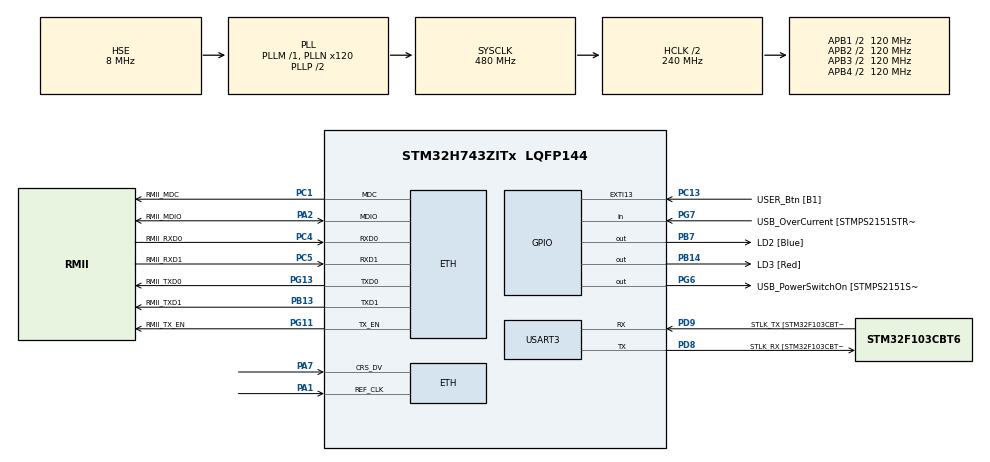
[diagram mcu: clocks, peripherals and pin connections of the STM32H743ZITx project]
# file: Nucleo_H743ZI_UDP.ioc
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LWIP.LWIP_MULTICAST_TX_OPTIONS=1
LWIP.LWIP_NETIF_API=1
PB14.GPIO_Label=LD3 [Red]
PG6.GPIO_Label=USB_PowerSwitchOn [STMPS2151STR_EN]
RCC.PLLFRACN=0
CORTEX_M7.AccessPermission-Cortex_Memory_Protection_Unit_Region2_Settings=MPU_REGION_FULL_ACCESS
PC5.Mode=RMII
PB13.Signal=ETH_TXD1
PG13.Signal=ETH_TXD0
RCC.SYSCLKSource=RCC_SYSCLKSOURCE_PLLCLK
LWIP.NETMASK_ADDRESS=255.255.255.000
USART3.VirtualMode-Asynchronous=VM_ASYNC
FREERTOS.configENABLE_FPU=1
CORTEX_M7.Enable-Cortex_Memory_Protection_Unit_Region0_Settings=MPU_REGION_ENABLE
RCC.APB2TimFreq_Value=216000000
PD8.Signal=USART3_TX
FREERTOS.configMINIMAL_STACK_SIZE=1024
LWIP.LWIP_DHCP_CHECK_LINK_UP=1
RCC.DIVM1=1
PC4.GPIO_Label=RMII_RXD0
VP_FREERTOS_VS_CMSIS_V1.Mode=CMSIS_V1
Mcu.Package=LQFP144
NVIC.TimeBase=TIM1_UP_IRQn
NVIC.TimeBaseIP=TIM1
PC14-OSC32_IN\ (OSC32_IN).Mode=LSE-External-Oscillator
RCC.APB2CLKDivider=RCC_HCLK_DIV2
RCC.APB4Freq_Value=120000000
RCC.APB1TimFreq_Value=108000000
CORTEX_M7.Enable-Cortex_Memory_Protection_Unit_Region1_Settings=MPU_REGION_ENABLE
PB13.Mode=RMII
PH0-OSC_IN\ (PH0).Mode=HSE-External-Oscillator
CORTEX_M7.IsBufferable-Cortex_Memory_Protection_Unit_Region0_Settings=MPU_ACCESS_BUFFERABLE
PC4.Mode=RMII
LWIP.IP_ADDRESS=010.010.010.010
RCC.DIVQ1=4
FREERTOS.Tasks01=StartupTask,0,2048,Task_Startup,Default,NULL,Dynamic,NULL,NULL;HeartBeat_Task,0,2048,Task_HeartBeat,Default,NULL,Dynamic,NULL,NULL;UdpServer_Task,-1,2048,Task_UdpServer,Default,NULL,Dynamic,NULL,NULL;DHCP_Task,0,1024,TASK_DHCP,Default,NULL,Dynamic,NULL,NULL
LWIP0.BSP.i2caddr=0
PD9.GPIO_Label=STLK_TX [STM32F103CBT6_PA2]
LWIP.LWIP_NETCONN_FULLDUPLEX=1
PC13.Signal=GPXTI13
FREERTOS.INCLUDE_vTaskDelayUntil=1
LWIP.LWIP_DHCP=0
RCC.APB1CLKDivider=RCC_HCLK_DIV4
PG13.GPIO_Label=RMII_TXD0
LWIP.LWIP_MULTICAST_PING=1
RCC.PWR_Regulator_Voltage_Scale=PWR_REGULATOR_VOLTAGE_SCALE0
LWIP.LWIP_NETIF_LINK_CALLBACK=1
RCC.DIVN1=120
PB13.GPIO_Speed=GPIO_SPEED_FREQ_VERY_HIGH
CORTEX_M7.BaseAddress-Cortex_Memory_Protection_Unit_Region0_Settings=0x30040000
PD8.Mode=Asynchronous
PB14.Signal=GPIO_Output
CORTEX_M7.Enable-Cortex_Memory_Protection_Unit_Region2_Settings=MPU_REGION_ENABLE
PA1.Mode=RMII
RCC.PRESCALERUSB=RCC_USBCLKSOURCE_PLL_DIV1_5
PG7.GPIO_Label=USB_OverCurrent [STMPS2151STR_FAULT]
CORTEX_M7.AccessPermission-Cortex_Memory_Protection_Unit_Region0_Settings=MPU_REGION_FULL_ACCESS
PC1.GPIO_Speed=GPIO_SPEED_FREQ_VERY_HIGH
ETH.MediaInterface=HAL_ETH_RMII_MODE
FREERTOS.configUSE_COUNTING_SEMAPHORES=1
PG11.Mode=RMII
ProjectManager.HeapSize=0x2000
LWIP.Version=v2.1.2_Cube
FREERTOS.configUSE_RECURSIVE_MUTEXES=1
NVIC.PriorityGroup=NVIC_PRIORITYGROUP_4
PC5.GPIO_Speed=GPIO_SPEED_FREQ_VERY_HIGH
LWIP.ARP_QUEUEING=1
PC1.Signal=ETH_MDC
PC1.Mode=RMII
Mcu.Family=STM32H7
LWIP0.BSP.STBoard=false
RCC.CortexFreq_Value=480000000
PG6.Signal=GPIO_Output
RCC.HPRE=RCC_HCLK_DIV2
PH0-OSC_IN\ (PH0).Signal=RCC_OSC_IN
PC15-OSC32_OUT\ (OSC32_OUT).Mode=LSE-External-Oscillator
RCC.SYSCLKSourceVirtual=RCC_SYSCLKSOURCE_PLLCLK
PA2.GPIO_Speed=GPIO_SPEED_FREQ_VERY_HIGH
NVIC.TIM1_UP_IRQn=true\:0\:0\:false\:false\:true\:false\:false\:true
PC13.GPIO_Label=USER_Btn [B1]
PB13.GPIO_Label=RMII_TXD1
PD9.Mode=Asynchronous
PG11.Signal=ETH_TX_EN
ProjectManager.StackSize=0x4000
Mcu.UserConstants=DHCP_OFF,0;DHCP_START,1;DHCP_WAIT_ADDRESS,2;DHCP_ADDRESS_ASSIGNED,3;DHCP_TIMEOUT,4;DHCP_LINK_DOWN,5;IP_ADDR0,10;IP_ADDR1,10;IP_ADDR2,10;IP_ADDR3,10;NETMASK_ADDR0,255;NETMASK_ADDR1,255;NETMASK_ADDR2,255;NETMASK_ADDR3,0;GW_ADDR0,10;GW_ADDR1,10;GW_ADDR2,10;GW_ADDR3,11;MAX_DHCP_TRIES,5
RCC.HCLKFreq_Value=240000000
RCC.AHBFreq_Value=216000000
NVIC.ETH_IRQn=true\:5\:0\:false\:false\:true\:true\:true\:true
PH1-OSC_OUT\ (PH1).Mode=HSE-External-Oscillator
RCC.HSE_VALUE=8000000
FREERTOS.configUSE_TIMERS=1
CORTEX_M7.Size-Cortex_Memory_Protection_Unit_Region2_Settings=MPU_REGION_SIZE_16KB
RCC.PLLMUL=RCC_PLL_MUL9
PG11.GPIO_Speed=GPIO_SPEED_FREQ_VERY_HIGH
PC4.GPIO_Speed=GPIO_SPEED_FREQ_VERY_HIGH
CORTEX_M7.TypeExtField-Cortex_Memory_Protection_Unit_Region2_Settings=MPU_TEX_LEVEL1
LWIP.LWIP_TCP_KEEPALIVE=1
VP_SYS_VS_tim1.Mode=TIM1
PB7.Signal=GPIO_Output
PG13.Mode=RMII
LWIP.ETHARP_SUPPORT_STATIC_ENTRIES=1
LWIP0.BSP.solution=LAN8742
LWIP.LWIP_BROADCAST_PING=1
FREERTOS.configTOTAL_HEAP_SIZE=128000
RCC.APB3Freq_Value=120000000
LWIP0.BSP.component=LAN8742
PB7.GPIO_Label=LD2 [Blue]
RCC.D1PPRE=RCC_APB3_DIV2
CORTEX_M7.BaseAddress-Cortex_Memory_Protection_Unit_Region1_Settings=0x30044000
PA2.GPIO_Label=RMII_MDIO
CORTEX_M7.Size-Cortex_Memory_Protection_Unit_Region1_Settings=MPU_REGION_SIZE_16KB
LWIP.CHECKSUM_BY_HARDWARE=1
PG11.GPIO_Label=RMII_TX_EN
PG13.GPIO_Speed=GPIO_SPEED_FREQ_VERY_HIGH
PC5.Signal=ETH_RXD1
CORTEX_M7.IsShareable-Cortex_Memory_Protection_Unit_Region1_Settings=MPU_ACCESS_SHAREABLE
LWIP.LWIP_NUM_NETIF_CLIENT_DATA=1
RCC.PLLSourceVirtual=RCC_PLLSOURCE_HSE
CORTEX_M7.CPU_ICache=Enabled
PG7.Signal=GPIO_Input
PA7.Mode=RMII
PC4.Signal=ETH_RXD0
RCC.D2PPRE2=RCC_APB2_DIV2
RCC.D2PPRE1=RCC_APB1_DIV2
PD9.Signal=USART3_RX
CORTEX_M7.BaseAddress-Cortex_Memory_Protection_Unit_Region2_Settings=0x30040000
PH1-OSC_OUT\ (PH1).Signal=RCC_OSC_OUT
VP_LWIP_VS_Enabled.Mode=Enabled
LWIP.GATEWAY_ADDRESS=010.010.010.011
PD8.GPIO_Label=STLK_RX [STM32F103CBT6_PA3]
FREERTOS.configUSE_IDLE_HOOK=1
CORTEX_M7.MPU_Control=MPU_PRIVILEGED_DEFAULT
ProjectManager.TargetToolchain=STM32CubeIDE
PC15-OSC32_OUT\ (OSC32_OUT).Signal=RCC_OSC32_OUT
CORTEX_M7.TypeExtField-Cortex_Memory_Protection_Unit_Region1_Settings=MPU_TEX_LEVEL1
FREERTOS.configTIMER_TASK_STACK_DEPTH=1024
LWIP0.BSP.instance=LAN8742
RCC.USBFreq_Value=240000000
LWIP0.BSP.api=BSP_COMPONENT_DRIVER
PA1.Signal=ETH_REF_CLK
board=NUCLEO-H743ZI
RCC.VCOOutputFreq_Value=432000000
RCC.APB2Freq_Value=120000000
RCC.ADCFreq_Value=16125000
PC1.GPIO_Label=RMII_MDC
Mcu.Name=STM32H743ZITx
CORTEX_M7.Size-Cortex_Memory_Protection_Unit_Region0_Settings=MPU_REGION_SIZE_256B
PA2.Signal=ETH_MDIO
CORTEX_M7.AccessPermission-Cortex_Memory_Protection_Unit_Region1_Settings=MPU_REGION_FULL_ACCESS
RCC.48MHZClocksFreq_Value=24000000
RCC.SYSCLKFreq_VALUE=480000000
LWIP.LWIP_NETIF_STATUS_CALLBACK=1
LWIP.BSP.number=1
PC14-OSC32_IN\ (OSC32_IN).Signal=RCC_OSC32_IN
PC5.GPIO_Label=RMII_RXD1
RCC.HSI_VALUE=64000000
RCC.PLLQ=9
PH0-OSC_IN\ (PH0).GPIO_Label=MCO
RCC.PLLM=25
RCC.PLLN=432
LWIP.LWIP_AUTOIP=0
PA2.Mode=RMII
RCC.D3PPRE=RCC_APB4_DIV2
CORTEX_M7.CPU_DCache=Enabled
LWIP0.BSP.name=Driver_PHY
RCC.APB1Freq_Value=120000000
PA7.Signal=ETH_CRS_DV

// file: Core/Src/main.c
/* USER CODE BEGIN Header */
/**
  ******************************************************************************
  * @file           : main.c
  * @brief          : Main program body
  ******************************************************************************
  * @attention
  *
  * <h2><center>&copy; Copyright (c) 2020 STMicroelectronics.
  * All rights reserved.</center></h2>
  *
  * This software component is licensed by ST under Ultimate Liberty license
  * SLA0044, the "License"; You may not use this file except in compliance with
  * the License. You may obtain a copy of the License at:
  *                             www.st.com/SLA0044
  *
  ******************************************************************************
  */
/* USER CODE END Header */
#include "main.h"
#include "cmsis_os.h"
#include "lwip.h"
#include "usart.h"
#include "gpio.h"

void SystemClock_Config(void);
static void MPU_Config(void);
void MX_FREERTOS_Init(void);

int main(void)
{

  /* MPU Configuration--------------------------------------------------------*/
  MPU_Config();

  /* Enable I-Cache---------------------------------------------------------*/
  SCB_EnableICache();

  /* Enable D-Cache---------------------------------------------------------*/
  SCB_EnableDCache();

  /* MCU Configuration--------------------------------------------------------*/

  /* Reset of all peripherals, Initializes the Flash interface and the Systick. */
  HAL_Init();

  /* Configure the system clock */
  SystemClock_Config();

  /* Initialize all configured peripherals */
  MX_GPIO_Init();
  MX_USART3_UART_Init();

  /* Call init function for freertos objects (in freertos.c) */
  MX_FREERTOS_Init();
  /* Start scheduler */
  osKernelStart();

  /* We should never get here as control is now taken by the scheduler */
  /* Infinite loop */
  while (1)
  {

  }
}

void SystemClock_Config(void)
{
  RCC_OscInitTypeDef RCC_OscInitStruct = {0};
  RCC_ClkInitTypeDef RCC_ClkInitStruct = {0};

  /** Supply configuration update enable
  */
  HAL_PWREx_ConfigSupply(PWR_LDO_SUPPLY);
  /** Configure the main internal regulator output voltage
  */
  __HAL_PWR_VOLTAGESCALING_CONFIG(PWR_REGULATOR_VOLTAGE_SCALE0);

  while(!__HAL_PWR_GET_FLAG(PWR_FLAG_VOSRDY)) {}
  /** Initializes the RCC Oscillators according to the specified parameters
  * in the RCC_OscInitTypeDef structure.
  */
  RCC_OscInitStruct.OscillatorType = RCC_OSCILLATORTYPE_HSE;
  RCC_OscInitStruct.HSEState = RCC_HSE_ON;
  RCC_OscInitStruct.PLL.PLLState = RCC_PLL_ON;
  RCC_OscInitStruct.PLL.PLLSource = RCC_PLLSOURCE_HSE;
  RCC_OscInitStruct.PLL.PLLM = 1;
  RCC_OscInitStruct.PLL.PLLN = 120;
  RCC_OscInitStruct.PLL.PLLP = 2;
  RCC_OscInitStruct.PLL.PLLQ = 4;
  RCC_OscInitStruct.PLL.PLLR = 2;
  RCC_OscInitStruct.PLL.PLLRGE = RCC_PLL1VCIRANGE_3;
  RCC_OscInitStruct.PLL.PLLVCOSEL = RCC_PLL1VCOWIDE;
  RCC_OscInitStruct.PLL.PLLFRACN = 0;
  if (HAL_RCC_OscConfig(&RCC_OscInitStruct) != HAL_OK)
  {
    Error_Handler();
  }
  /** Initializes the CPU, AHB and APB buses clocks
  */
  RCC_ClkInitStruct.ClockType = RCC_CLOCKTYPE_HCLK|RCC_CLOCKTYPE_SYSCLK
                              |RCC_CLOCKTYPE_PCLK1|RCC_CLOCKTYPE_PCLK2
                              |RCC_CLOCKTYPE_D3PCLK1|RCC_CLOCKTYPE_D1PCLK1;
  RCC_ClkInitStruct.SYSCLKSource = RCC_SYSCLKSOURCE_PLLCLK;
  RCC_ClkInitStruct.SYSCLKDivider = RCC_SYSCLK_DIV1;
  RCC_ClkInitStruct.AHBCLKDivider = RCC_HCLK_DIV2;
  RCC_ClkInitStruct.APB3CLKDivider = RCC_APB3_DIV2;
  RCC_ClkInitStruct.APB1CLKDivider = RCC_APB1_DIV2;
  RCC_ClkInitStruct.APB2CLKDivider = RCC_APB2_DIV2;
  RCC_ClkInitStruct.APB4CLKDivider = RCC_APB4_DIV2;

  if (HAL_RCC_ClockConfig(&RCC_ClkInitStruct, FLASH_LATENCY_4) != HAL_OK)
  {
    Error_Handler();
  }
}

/* MPU Configuration */

void MPU_Config(void)
{
  MPU_Region_InitTypeDef MPU_InitStruct = {0};

  /* Disables the MPU */
  HAL_MPU_Disable();
  /** Initializes and configures the Region and the memory to be protected
  */
  MPU_InitStruct.Enable = MPU_REGION_ENABLE;
  MPU_InitStruct.Number = MPU_REGION_NUMBER0;
  MPU_InitStruct.BaseAddress = 0x30040000;
  MPU_InitStruct.Size = MPU_REGION_SIZE_256B;
  MPU_InitStruct.SubRegionDisable = 0x0;
  MPU_InitStruct.TypeExtField = MPU_TEX_LEVEL0;
  MPU_InitStruct.AccessPermission = MPU_REGION_FULL_ACCESS;
  MPU_InitStruct.DisableExec = MPU_INSTRUCTION_ACCESS_ENABLE;
  MPU_InitStruct.IsShareable = MPU_ACCESS_NOT_SHAREABLE;
  MPU_InitStruct.IsCacheable = MPU_ACCESS_NOT_CACHEABLE;
  MPU_InitStruct.IsBufferable = MPU_ACCESS_BUFFERABLE;

  HAL_MPU_ConfigRegion(&MPU_InitStruct);
  /** Initializes and configures the Region and the memory to be protected
  */
  MPU_InitStruct.Number = MPU_REGION_NUMBER1;
  MPU_InitStruct.BaseAddress = 0x30044000;
  MPU_InitStruct.Size = MPU_REGION_SIZE_16KB;
  MPU_InitStruct.TypeExtField = MPU_TEX_LEVEL1;
  MPU_InitStruct.IsShareable = MPU_ACCESS_SHAREABLE;
  MPU_InitStruct.IsBufferable = MPU_ACCESS_NOT_BUFFERABLE;

  HAL_MPU_ConfigRegion(&MPU_InitStruct);
  /** Initializes and configures the Region and the memory to be protected
  */
  MPU_InitStruct.Number = MPU_REGION_NUMBER2;
  MPU_InitStruct.BaseAddress = 0x30040000;
  MPU_InitStruct.IsShareable = MPU_ACCESS_NOT_SHAREABLE;

  HAL_MPU_ConfigRegion(&MPU_InitStruct);
  /* Enables the MPU */
  HAL_MPU_Enable(MPU_PRIVILEGED_DEFAULT);

}
void HAL_TIM_PeriodElapsedCallback(TIM_HandleTypeDef *htim)
{
  if (htim->Instance == TIM1) {
    HAL_IncTick();
  }
}

void Error_Handler(void)
{
}

/************************ (C) COPYRIGHT STMicroelectronics *****END OF FILE****/

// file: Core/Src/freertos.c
/* USER CODE BEGIN Header */
/**
  ******************************************************************************
  * File Name          : freertos.c
  * Description        : Code for freertos applications
  ******************************************************************************
  * @attention
  *
  * <h2><center>&copy; Copyright (c) 2020 STMicroelectronics.
  * All rights reserved.</center></h2>
  *
  * This software component is licensed by ST under Ultimate Liberty license
  * SLA0044, the "License"; You may not use this file except in compliance with
  * the License. You may obtain a copy of the License at:
  *                             www.st.com/SLA0044
  *
  ******************************************************************************
  */
/* USER CODE END Header */

#include "FreeRTOS.h"
#include "task.h"
#include "main.h"
#include "cmsis_os.h"

/* USER CODE BEGIN Includes */
#include "lwipopts.h"
#include "lwip/opt.h"
#include "lwip/netif.h"
#include "lwip/tcpip.h"
#include "lwip/udp.h"
#include "lwip.h"
#include "string.h"
#if LWIP_DHCP
#include "lwip/dhcp.h"
#endif
#include "ethernetif.h"
#include "gpio.h"
/* USER CODE END Includes */

/* USER CODE BEGIN Variables */
uint8_t DHCP_state;
/* USER CODE END Variables */
osThreadId StartupTaskHandle;
osThreadId HeartBeat_TaskHandle;
osThreadId UdpServer_TaskHandle;
osThreadId DHCP_TaskHandle;

void Task_Startup(void const * argument);
void Task_HeartBeat(void const * argument);
void Task_UdpServer(void const * argument);
void TASK_DHCP(void const * argument);

extern void MX_LWIP_Init(void);
void MX_FREERTOS_Init(void); /* (MISRA C 2004 rule 8.1) */

/* GetIdleTaskMemory prototype (linked to static allocation support) */
void vApplicationGetIdleTaskMemory( StaticTask_t **ppxIdleTaskTCBBuffer, StackType_t **ppxIdleTaskStackBuffer, uint32_t *pulIdleTaskStackSize );

/* GetTimerTaskMemory prototype (linked to static allocation support) */
void vApplicationGetTimerTaskMemory( StaticTask_t **ppxTimerTaskTCBBuffer, StackType_t **ppxTimerTaskStackBuffer, uint32_t *pulTimerTaskStackSize );

/* Hook prototypes */
void vApplicationIdleHook(void);

/* USER CODE BEGIN 2 */
__weak void vApplicationIdleHook( void )
{
   /* vApplicationIdleHook() will only be called if configUSE_IDLE_HOOK is set
   to 1 in FreeRTOSConfig.h. It will be called on each iteration of the idle
   task. It is essential that code added to this hook function never attempts
   to block in any way (for example, call xQueueReceive() with a block time
   specified, or call vTaskDelay()). If the application makes use of the
   vTaskDelete() API function (as this demo application does) then it is also
   important that vApplicationIdleHook() is permitted to return to its calling
   function, because it is the responsibility of the idle task to clean up
   memory allocated by the kernel to any task that has since been deleted. */
}
/* USER CODE END 2 */

/* USER CODE BEGIN GET_IDLE_TASK_MEMORY */
static StaticTask_t xIdleTaskTCBBuffer;
static StackType_t xIdleStack[configMINIMAL_STACK_SIZE];

void vApplicationGetIdleTaskMemory( StaticTask_t **ppxIdleTaskTCBBuffer, StackType_t **ppxIdleTaskStackBuffer, uint32_t *pulIdleTaskStackSize )
{
  *ppxIdleTaskTCBBuffer = &xIdleTaskTCBBuffer;
  *ppxIdleTaskStackBuffer = &xIdleStack[0];
  *pulIdleTaskStackSize = configMINIMAL_STACK_SIZE;
  /* place for user code */
}
/* USER CODE END GET_IDLE_TASK_MEMORY */

/* USER CODE BEGIN GET_TIMER_TASK_MEMORY */
static StaticTask_t xTimerTaskTCBBuffer;
static StackType_t xTimerStack[configTIMER_TASK_STACK_DEPTH];

void vApplicationGetTimerTaskMemory( StaticTask_t **ppxTimerTaskTCBBuffer, StackType_t **ppxTimerTaskStackBuffer, uint32_t *pulTimerTaskStackSize )
{
  *ppxTimerTaskTCBBuffer = &xTimerTaskTCBBuffer;
  *ppxTimerTaskStackBuffer = &xTimerStack[0];
  *pulTimerTaskStackSize = configTIMER_TASK_STACK_DEPTH;
  /* place for user code */
}
/* USER CODE END GET_TIMER_TASK_MEMORY */

void MX_FREERTOS_Init(void) {

  /* Create the thread(s) */
  /* definition and creation of StartupTask */
  osThreadDef(StartupTask, Task_Startup, osPriorityNormal, 0, 2048);
  StartupTaskHandle = osThreadCreate(osThread(StartupTask), NULL);

  /* definition and creation of HeartBeat_Task */
  osThreadDef(HeartBeat_Task, Task_HeartBeat, osPriorityNormal, 0, 2048);
  HeartBeat_TaskHandle = osThreadCreate(osThread(HeartBeat_Task), NULL);

  /* definition and creation of UdpServer_Task */
  osThreadDef(UdpServer_Task, Task_UdpServer, osPriorityBelowNormal, 0, 2048);
  UdpServer_TaskHandle = osThreadCreate(osThread(UdpServer_Task), NULL);

  /* definition and creation of DHCP_Task */
  osThreadDef(DHCP_Task, TASK_DHCP, osPriorityNormal, 0, 1024);
  DHCP_TaskHandle = osThreadCreate(osThread(DHCP_Task), NULL);

}

void Task_Startup(void const * argument)
{
  /* init code for LWIP */
  MX_LWIP_Init();
  /* USER CODE BEGIN Task_Startup */

  /* Infinite loop */
  for(;;)
  {

	  // Terminate the current thread
 	osThreadTerminate(NULL);
  }
  /* USER CODE END Task_Startup */
}

void Task_HeartBeat(void const * argument)
{
  /* USER CODE BEGIN Task_HeartBeat */
  /* Infinite loop */
  for(;;)
  {

	  HAL_GPIO_TogglePin(LD3_GPIO_Port, LD3_Pin);
    osDelay(100);
  }
  /* USER CODE END Task_HeartBeat */
}

void Task_UdpServer(void const * argument)
{
  /* USER CODE BEGIN Task_UdpServer */

	const char* message = "Hello UDP message!\n\r";
	ip_addr_t PC_IPADDR;
	IP_ADDR4(&PC_IPADDR, 10, 50, 1, 10);

	struct udp_pcb* my_udp = udp_new();
	udp_connect(my_udp, &PC_IPADDR, 8888);
	struct pbuf* udp_buffer = NULL;

	/* Infinite loop */
	for (;;)
	{
	  udp_buffer = pbuf_alloc(PBUF_TRANSPORT, strlen(message), PBUF_RAM);
	  if (udp_buffer != NULL) {
	    memcpy(udp_buffer->payload, message, strlen(message));
	    udp_send(my_udp, udp_buffer);
	    pbuf_free(udp_buffer);

	  }
	  osDelay(1000);
	}
  /* USER CODE END Task_UdpServer */
}

void TASK_DHCP(void const * argument)
{
  /* USER CODE BEGIN TASK_DHCP */

#if LWIP_DHCP
	  struct netif *netif = (struct netif *) argument;
	  ip_addr_t ipaddr;
	  ip_addr_t netmask;
	  ip_addr_t gw;
	  struct dhcp *dhcp;
#endif
	  for (;;)
	  {

#if LWIP_DHCP
	    switch (DHCP_state)
	    {
	    case DHCP_START:
	      {
	        ip_addr_set_zero_ip4(&netif->ip_addr);
	        ip_addr_set_zero_ip4(&netif->netmask);
	        ip_addr_set_zero_ip4(&netif->gw);
	        DHCP_state = DHCP_WAIT_ADDRESS;

	        dhcp_start(netif);
	      }
	      break;
	    case DHCP_WAIT_ADDRESS:
	      {
	        if (dhcp_supplied_address(netif))
	        {
	          DHCP_state = DHCP_ADDRESS_ASSIGNED;

	        }
	        else
	        {
	          dhcp = (struct dhcp *)netif_get_client_data(netif, LWIP_NETIF_CLIENT_DATA_INDEX_DHCP);

	          /* DHCP timeout */
	          if (dhcp->tries > MAX_DHCP_TRIES)
	          {
	            DHCP_state = DHCP_TIMEOUT;

	            /* Stop DHCP */
	            dhcp_stop(netif);

	            /* Static address used */
	            IP_ADDR4(&ipaddr, IP_ADDR0 ,IP_ADDR1 , IP_ADDR2 , IP_ADDR3 );
	            IP_ADDR4(&netmask, NETMASK_ADDR0, NETMASK_ADDR1, NETMASK_ADDR2, NETMASK_ADDR3);
	            IP_ADDR4(&gw, GW_ADDR0, GW_ADDR1, GW_ADDR2, GW_ADDR3);
	            netif_set_addr(netif, ip_2_ip4(&ipaddr), ip_2_ip4(&netmask), ip_2_ip4(&gw));
	          }
	        }
	      }
	      break;
	  case DHCP_LINK_DOWN:
	    {
	      /* Stop DHCP */
	      dhcp_stop(netif);
	      DHCP_state = DHCP_OFF;

	    }
	    break;
	    default: break;
	    }
#endif
	    /* wait 500 ms */
	    osDelay(500);
	  }
  /* USER CODE END TASK_DHCP */
}

/************************ (C) COPYRIGHT STMicroelectronics *****END OF FILE****/
